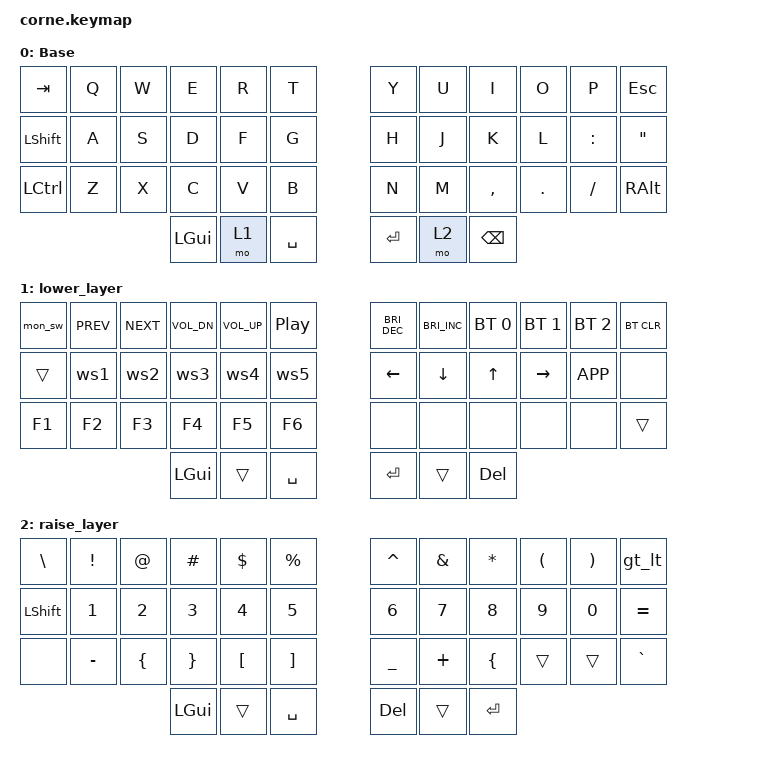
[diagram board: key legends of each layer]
/*
 * Copyright (c) 2020 The ZMK Contributors
 *
 * SPDX-License-Identifier: MIT
 */

#include <behaviors.dtsi>
#include <dt-bindings/zmk/bt.h>
#include <dt-bindings/zmk/keys.h>

/ {
    behaviors {
        gt_lt: greater_less_than {
            compatible = "zmk,behavior-mod-morph";
            label = "GT_LT";
            #binding-cells = <0>;
            bindings = <&kp LESS_THAN>, <&kp GREATER_THAN>;

            mods = <(MOD_LSFT|MOD_RSFT)>;
        };
    };

    macros {
        mon_sw: mon_sw {
            compatible = "zmk,behavior-macro";
            #binding-cells = <0>;
            wait-ms = <0>;
            tap-ms = <0>;

            // binding LGui + tab for workspace switching

            bindings =
                <&macro_press>,
                <&kp LGUI>,
                <&macro_tap>,
                <&kp TAB>,
                <&macro_release>,
                <&kp LGUI>;
        };

        // Workspace 1: GUI + 1 (Simultaneous)

        ws1: ws1 {
            compatible = "zmk,behavior-macro";
            #binding-cells = <0>;
            wait-ms = <0>;
            tap-ms = <0>;
            bindings =
                <&macro_press>,
                <&kp LGUI>,
                <&macro_tap>,
                <&kp N1>,
                <&macro_release>,
                <&kp LGUI>;
        };

        // Workspace 2: GUI + 2 (Simultaneous)

        ws2: ws2 {
            compatible = "zmk,behavior-macro";
            #binding-cells = <0>;
            wait-ms = <0>;
            tap-ms = <0>;
            bindings =
                <&macro_press>,
                <&kp LGUI>,
                <&macro_tap>,
                <&kp N2>,
                <&macro_release>,
                <&kp LGUI>;
        };

        ws3: ws3 {
            compatible = "zmk,behavior-macro";
            #binding-cells = <0>;
            wait-ms = <0>;
            tap-ms = <0>;
            bindings =
                <&macro_press>,
                <&kp LGUI>,
                <&macro_tap>,
                <&kp N3>,
                <&macro_release>,
                <&kp LGUI>;
        };

        ws4: ws4 {
            compatible = "zmk,behavior-macro";
            #binding-cells = <0>;
            wait-ms = <0>;
            tap-ms = <0>;
            bindings =
                <&macro_press>,
                <&kp LGUI>,
                <&macro_tap>,
                <&kp N4>,
                <&macro_release>,
                <&kp LGUI>;
        };

        ws5: ws5 {
            compatible = "zmk,behavior-macro";
            #binding-cells = <0>;
            wait-ms = <0>;
            tap-ms = <0>;
            bindings =
                <&macro_press>,
                <&kp LGUI>,
                <&macro_tap>,
                <&kp N5>,
                <&macro_release>,
                <&kp LGUI>;
        };
    };

    keymap {
        compatible = "zmk,keymap";

        default_layer {
            // -----------------------------------------------------------------------------------------
            // |  TAB |  Q  |  W  |  E  |  R  |  T  |   |  Y  |  U   |  I  |  O  |  P  | BKSP |
            // | CTRL |  A  |  S  |  D  |  F  |  G  |   |  H  |  J   |  K  |  L  |  ;  |  '   |
            // | SHFT |  Z  |  X  |  C  |  V  |  B  |   |  N  |  M   |  ,  |  .  |  /  | ESC  |
            //                    | GUI | LWR | SPC |   | ENT | RSE  | ALT |

            display-name = "Base";
            bindings = <
&kp TAB    &kp Q  &kp W  &kp E     &kp R      &kp T        &kp Y    &kp U      &kp I      &kp O    &kp P      &kp ESC
&kp LSHFT  &kp A  &kp S  &kp D     &kp F      &kp G        &kp H    &kp J      &kp K      &kp L    &kp COLON  &kp DOUBLE_QUOTES
&kp LCTRL  &kp Z  &kp X  &kp C     &kp V      &kp B        &kp N    &kp M      &kp COMMA  &kp DOT  &kp FSLH   &kp RALT
                         &kp LGUI  &mo 1      &kp SPACE    &kp RET  &mo 2      &kp BSPC
            >;
        };

       lower_layer {
            bindings = <
&mon_sw  &kp C_PREV  &kp C_NEXT  &kp C_VOL_DN  &kp C_VOL_UP  &kp C_PP     &kp C_BRI_DEC  &kp C_BRI_INC  &bt BT_SEL 0  &bt BT_SEL 1  &bt BT_SEL 2  &bt BT_CLR
&trans   &ws1        &ws2        &ws3          &ws4          &ws5         &kp LEFT       &kp DOWN       &kp UP        &kp RIGHT     &kp K_APP     &none
&kp F1   &kp F2      &kp F3      &kp F4        &kp F5        &kp F6       &none          &none          &none         &none         &none         &trans
                                 &kp LGUI      &trans        &kp SPACE    &kp RET        &trans         &kp DEL
            >;
        };

        raise_layer {
            bindings = <
&kp BSLH   &kp EXCL   &kp AT    &kp HASH  &kp DLLR  &kp PRCNT    &kp CARET  &kp AMPS  &kp STAR  &kp LPAR  &kp RPAR  &gt_lt
&kp LSHFT  &kp N1     &kp N2    &kp N3    &kp N4    &kp N5       &kp N6     &kp N7    &kp N8    &kp N9    &kp N0    &kp EQUAL
&none      &kp MINUS  &kp LBRC  &kp RBRC  &kp LBKT  &kp RBKT     &kp UNDER  &kp PLUS  &kp LBRC  &trans    &trans    &kp GRAVE
                                &kp LGUI  &trans    &kp SPACE    &kp DEL    &trans    &kp RET
            >;
        };

        extra_1 { status = "reserved"; };

        extra_2 { status = "reserved"; };

        extra_3 { status = "reserved"; };
    };
};
